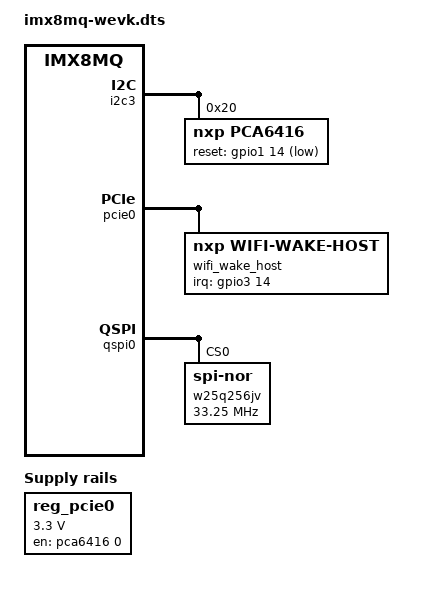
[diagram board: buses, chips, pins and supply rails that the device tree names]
// SPDX-License-Identifier: (GPL-2.0 OR MIT)
/*
 * Copyright 2023 NXP
 */

/dts-v1/;

#include "imx8mq-evk.dts"

/ {
	modem_reset: modem-reset {
		reset-gpios = <&gpio3 5 GPIO_ACTIVE_HIGH>;
	};

	reg_pcie0: regulator-pcie0 {
		compatible = "regulator-fixed";
		regulator-name = "MPCIE_3V3";
		regulator-min-microvolt = <3300000>;
		regulator-max-microvolt = <3300000>;
		gpio = <&pca6416 0 GPIO_ACTIVE_HIGH>;
		enable-active-high;
		regulator-always-on;
	};
};

&iomuxc {
	pinctrl_pca6416_rst: pca6416grp {
		fsl,pins = <
			MX8MQ_IOMUXC_GPIO1_IO14_GPIO1_IO14	0x19
		>;
	};
};

&pinctrl_pcie0 {
	fsl,pins = <
		MX8MQ_IOMUXC_I2C4_SCL_PCIE1_CLKREQ_B		0x76
		MX8MQ_IOMUXC_UART4_RXD_GPIO5_IO28		0x16
		MX8MQ_IOMUXC_NAND_DQS_GPIO3_IO14		0x41
	>;
};

&i2c3 {
	pca6416: gpio@20 {
		compatible = "nxp,pca6416";
		reg = <0x20>;
		pinctrl-names = "default";
		pinctrl-0 = <&pinctrl_pca6416_rst>;
		reset-gpios = <&gpio1 14 GPIO_ACTIVE_LOW>;
		gpio-controller;
		#gpio-cells = <2>;
	};
};

&gpio5 {
	/delete-node/ wl-reg-on-hog; /* This pin is not used on wevk board */
};

&uart3 { /* BT */
	pinctrl-assert-gpios = <&pca6416 5 GPIO_ACTIVE_LOW>;
};

&pcie0 {
	vpcie-supply = <&reg_pcie0>;

	wifi_wake_host {
		compatible = "nxp,wifi-wake-host";
		interrupt-parent = <&gpio3>;
		interrupts = <14 IRQ_TYPE_LEVEL_LOW>;
		interrupt-names = "host-wake";
	};
};

&pcie1 {
	/delete-node/ wifi_wake_host;
};

&ethphy0 {
	/delete-property/ qca,disable-smarteee;
	/delete-property/ vddio-supply;
	reset-deassert-us = <80000>;
	realtek,aldps-enable;
	realtek,clkout-disable;

	/delete-node/ vddh-regulator;
};

&qspi0 {
	assigned-clocks = <&clk IMX8MQ_CLK_QSPI>;
	assigned-clock-parents = <&clk IMX8MQ_SYS1_PLL_266M>;
	assigned-clock-rates = <266000000>;
	pinctrl-assert-gpios = <&pca6416 4 GPIO_ACTIVE_HIGH>;	/* QSPIA_RESET */

	w25q256jv: flash@0 {
		reg = <0>;
		#address-cells = <1>;
		#size-cells = <1>;
		compatible = "jedec,spi-nor";
		spi-tx-bus-width = <1>;
		spi-rx-bus-width = <4>;
		spi-max-frequency = <33250000>;   /* driver will x4 = 133MHz */
	};
};
